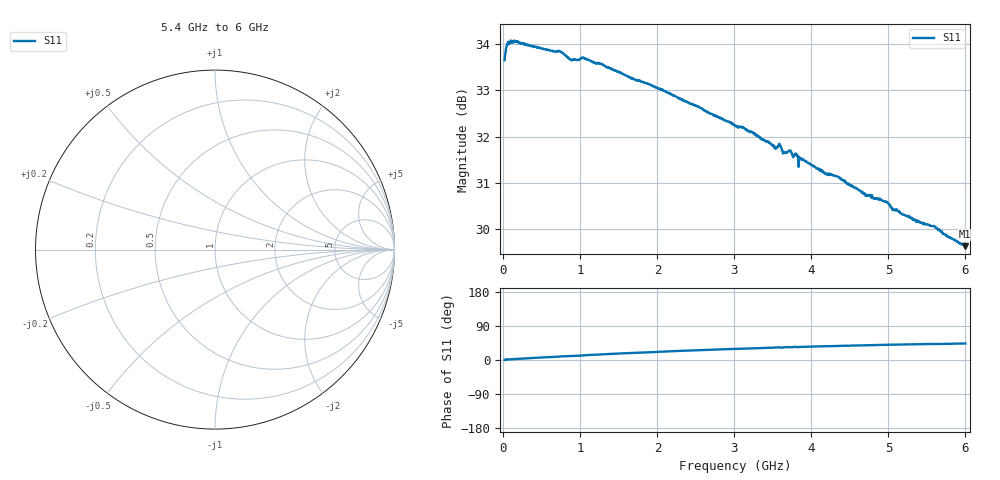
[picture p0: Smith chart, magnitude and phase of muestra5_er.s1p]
! NanoVNA-UTN-Toolkit permittivity export -- NOT S-parameters
! ES: Permitividad relativa compleja de la muestra. NO es S11: se guarda en
! ES: formato Touchstone solo para poder graficarla con visores de .s1p.
! EN: Complex relative permittivity of the sample. NOT S11: the Touchstone
! EN: format is used only so that .s1p viewers can plot it.
! Columns / Columnas: f (Hz) | eps' | eps'' (loss >= 0); eps_r = eps' - j*eps''
! Sample / Muestra: muestra5
! Technique / Tecnica: Open-ended coaxial probe (liquids)
! References / Referencias: water + ipa
! Probe / Sonda: 3 mm probe (C0 0.019 pF)
! Temperature / Temperatura: 23.0 °C
! Reliable from 45 MHz: points below are not reliable / Confiable desde 45 MHz: los puntos inferiores no son confiables
! Spike removal replaced 1 isolated S11 point(s) before solving / La remocion de picos reemplazo 1 punto(s) aislado(s) de S11
! 2 point(s) without a solution omitted / 2 punto(s) sin solucion omitidos
! Exported / Exportado: 2026-10-24T12:17:04
# Hz S RI R 50
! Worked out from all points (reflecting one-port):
!   1198 points, 15 MHz to 6 GHz, reference 50 ohm
!   lowest |S11| = 29.6 dB at 5.995 GHz (marker M1)
!   phase of S11 starts at 0 deg and turns +44 deg over the sweep
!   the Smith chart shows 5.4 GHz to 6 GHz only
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1.5e7  48.16 0.0113
4.5e7  50.04 1.57
7e7  50.18 1.363
1.6e8  50.35 2.243
3.8e8  49.65 4.704
6.9e8  48.67 7.264
7.65e8  48.35 8.344
8.7e8  47.41 9.059
9.85e8  47.31 9.522
1.035e9  47.4 10.2
1.12e9  46.88 11.04
1.515e9  44.64 13.89
2.26e9  40.15 17.75
3.01e9  35.71 19.92
3.135e9  35.14 20.32
3.5e9  32.85 20.87
3.565e9  32.54 21.3
3.62e9  32.3 20.85
3.655e9  31.86 21.1
3.695e9  31.81 21.44
3.73e9  31.99 21.32
3.76e9  31.45 21.1
4.505e9  27.86 21.62
5.005e9  25.67 21.82
5.255e9  24.54 21.49
5.575e9  23.59 21.43
5.995e9  21.94 20.91
6e9  21.99 20.89
